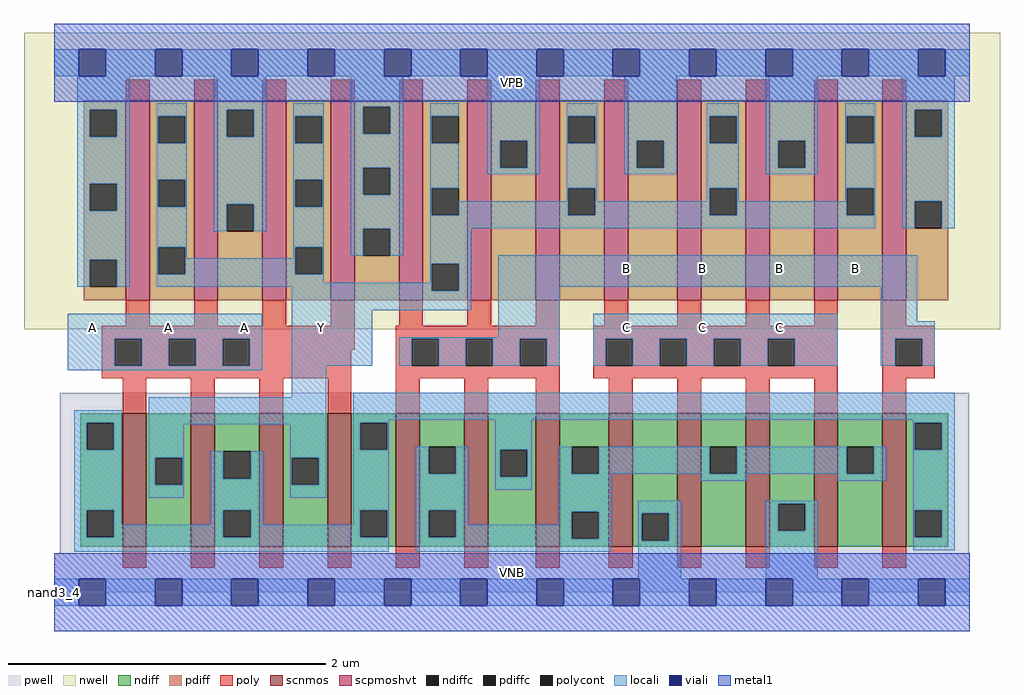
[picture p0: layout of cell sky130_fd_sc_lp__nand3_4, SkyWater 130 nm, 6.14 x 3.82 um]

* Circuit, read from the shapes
.subckt sky130_fd_sc_lp__nand3_4 A B C VGND VNB VPB VPWR Y
XM1 Y A n1 VNB sky130_fd_pr__nfet_01v8 w=0.84 l=0.15 m=4
XM2 n2 B n1 VNB sky130_fd_pr__nfet_01v8 w=0.84 l=0.15 m=4
XM3 VGND C n2 VNB sky130_fd_pr__nfet_01v8 w=0.84 l=0.15 m=4
XM4 Y A VPWR VPB sky130_fd_pr__pfet_01v8_hvt w=1.26 l=0.15 m=4
XM5 Y B VPWR VPB sky130_fd_pr__pfet_01v8_hvt w=1.26 l=0.15 m=4
XM6 VPWR C Y VPB sky130_fd_pr__pfet_01v8_hvt w=1.26 l=0.15 m=4
.ends

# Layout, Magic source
magic
tech sky130A
magscale 1 2
<< nwell >>
rect -38 331 1190 704
<< pwell >>
rect 7 49 1151 251
rect 0 0 1152 49
<< scnmos >>
rect 86 57 116 225
rect 172 57 202 225
rect 258 57 288 225
rect 344 57 374 225
rect 430 57 460 225
rect 516 57 546 225
rect 606 57 636 225
rect 698 57 728 225
rect 784 57 814 225
rect 870 57 900 225
rect 956 57 986 225
rect 1042 57 1072 225
<< scpmoshvt >>
rect 90 367 120 619
rect 176 367 206 619
rect 262 367 292 619
rect 348 367 378 619
rect 434 367 464 619
rect 520 367 550 619
rect 606 367 636 619
rect 692 367 722 619
rect 784 367 814 619
rect 870 367 900 619
rect 956 367 986 619
rect 1042 367 1072 619
<< ndiff >>
rect 33 213 86 225
rect 33 179 41 213
rect 75 179 86 213
rect 33 103 86 179
rect 33 69 41 103
rect 75 69 86 103
rect 33 57 86 69
rect 116 169 172 225
rect 116 135 127 169
rect 161 135 172 169
rect 116 57 172 135
rect 202 177 258 225
rect 202 143 213 177
rect 247 143 258 177
rect 202 103 258 143
rect 202 69 213 103
rect 247 69 258 103
rect 202 57 258 69
rect 288 169 344 225
rect 288 135 299 169
rect 333 135 344 169
rect 288 57 344 135
rect 374 213 430 225
rect 374 179 385 213
rect 419 179 430 213
rect 374 103 430 179
rect 374 69 385 103
rect 419 69 430 103
rect 374 57 430 69
rect 460 183 516 225
rect 460 149 471 183
rect 505 149 516 183
rect 460 103 516 149
rect 460 69 471 103
rect 505 69 516 103
rect 460 57 516 69
rect 546 179 606 225
rect 546 145 561 179
rect 595 145 606 179
rect 546 57 606 145
rect 636 183 698 225
rect 636 149 651 183
rect 685 149 698 183
rect 636 101 698 149
rect 636 67 651 101
rect 685 67 698 101
rect 636 57 698 67
rect 728 99 784 225
rect 728 65 739 99
rect 773 65 784 99
rect 728 57 784 65
rect 814 183 870 225
rect 814 149 825 183
rect 859 149 870 183
rect 814 57 870 149
rect 900 111 956 225
rect 900 77 911 111
rect 945 77 956 111
rect 900 57 956 77
rect 986 183 1042 225
rect 986 149 997 183
rect 1031 149 1042 183
rect 986 57 1042 149
rect 1072 213 1125 225
rect 1072 179 1083 213
rect 1117 179 1125 213
rect 1072 103 1125 179
rect 1072 69 1083 103
rect 1117 69 1125 103
rect 1072 57 1125 69
<< pdiff >>
rect 37 607 90 619
rect 37 573 45 607
rect 79 573 90 607
rect 37 514 90 573
rect 37 480 45 514
rect 79 480 90 514
rect 37 418 90 480
rect 37 384 45 418
rect 79 384 90 418
rect 37 367 90 384
rect 120 599 176 619
rect 120 565 131 599
rect 165 565 176 599
rect 120 519 176 565
rect 120 485 131 519
rect 165 485 176 519
rect 120 434 176 485
rect 120 400 131 434
rect 165 400 176 434
rect 120 367 176 400
rect 206 607 262 619
rect 206 573 217 607
rect 251 573 262 607
rect 206 488 262 573
rect 206 454 217 488
rect 251 454 262 488
rect 206 367 262 454
rect 292 599 348 619
rect 292 565 303 599
rect 337 565 348 599
rect 292 519 348 565
rect 292 485 303 519
rect 337 485 348 519
rect 292 434 348 485
rect 292 400 303 434
rect 337 400 348 434
rect 292 367 348 400
rect 378 611 434 619
rect 378 577 389 611
rect 423 577 434 611
rect 378 534 434 577
rect 378 500 389 534
rect 423 500 434 534
rect 378 457 434 500
rect 378 423 389 457
rect 423 423 434 457
rect 378 367 434 423
rect 464 599 520 619
rect 464 565 475 599
rect 509 565 520 599
rect 464 508 520 565
rect 464 474 475 508
rect 509 474 520 508
rect 464 413 520 474
rect 464 379 475 413
rect 509 379 520 413
rect 464 367 520 379
rect 550 568 606 619
rect 550 534 561 568
rect 595 534 606 568
rect 550 367 606 534
rect 636 599 692 619
rect 636 565 647 599
rect 681 565 692 599
rect 636 508 692 565
rect 636 474 647 508
rect 681 474 692 508
rect 636 367 692 474
rect 722 568 784 619
rect 722 534 733 568
rect 767 534 784 568
rect 722 367 784 534
rect 814 599 870 619
rect 814 565 825 599
rect 859 565 870 599
rect 814 508 870 565
rect 814 474 825 508
rect 859 474 870 508
rect 814 367 870 474
rect 900 568 956 619
rect 900 534 911 568
rect 945 534 956 568
rect 900 367 956 534
rect 986 599 1042 619
rect 986 565 997 599
rect 1031 565 1042 599
rect 986 508 1042 565
rect 986 474 997 508
rect 1031 474 1042 508
rect 986 367 1042 474
rect 1072 607 1125 619
rect 1072 573 1083 607
rect 1117 573 1125 607
rect 1072 492 1125 573
rect 1072 458 1083 492
rect 1117 458 1125 492
rect 1072 367 1125 458
<< ndiffc >>
rect 41 179 75 213
rect 41 69 75 103
rect 127 135 161 169
rect 213 143 247 177
rect 213 69 247 103
rect 299 135 333 169
rect 385 179 419 213
rect 385 69 419 103
rect 471 149 505 183
rect 471 69 505 103
rect 561 145 595 179
rect 651 149 685 183
rect 651 67 685 101
rect 739 65 773 99
rect 825 149 859 183
rect 911 77 945 111
rect 997 149 1031 183
rect 1083 179 1117 213
rect 1083 69 1117 103
<< pdiffc >>
rect 45 573 79 607
rect 45 480 79 514
rect 45 384 79 418
rect 131 565 165 599
rect 131 485 165 519
rect 131 400 165 434
rect 217 573 251 607
rect 217 454 251 488
rect 303 565 337 599
rect 303 485 337 519
rect 303 400 337 434
rect 389 577 423 611
rect 389 500 423 534
rect 389 423 423 457
rect 475 565 509 599
rect 475 474 509 508
rect 475 379 509 413
rect 561 534 595 568
rect 647 565 681 599
rect 647 474 681 508
rect 733 534 767 568
rect 825 565 859 599
rect 825 474 859 508
rect 911 534 945 568
rect 997 565 1031 599
rect 997 474 1031 508
rect 1083 573 1117 607
rect 1083 458 1117 492
<< poly >>
rect 90 619 120 645
rect 176 619 206 645
rect 262 619 292 645
rect 348 619 378 645
rect 434 619 464 645
rect 520 619 550 645
rect 606 619 636 645
rect 692 619 722 645
rect 784 619 814 645
rect 870 619 900 645
rect 956 619 986 645
rect 1042 619 1072 645
rect 90 335 120 367
rect 176 335 206 367
rect 262 335 292 367
rect 348 335 378 367
rect 434 335 464 367
rect 520 335 550 367
rect 606 335 636 367
rect 692 335 722 367
rect 784 335 814 367
rect 870 335 900 367
rect 956 335 986 367
rect 60 319 378 335
rect 60 285 76 319
rect 110 285 144 319
rect 178 285 212 319
rect 246 305 378 319
rect 430 319 636 335
rect 246 285 374 305
rect 60 269 374 285
rect 86 225 116 269
rect 172 225 202 269
rect 258 225 288 269
rect 344 225 374 269
rect 430 285 450 319
rect 484 285 518 319
rect 552 285 586 319
rect 620 285 636 319
rect 430 269 636 285
rect 678 319 986 335
rect 678 285 694 319
rect 728 285 762 319
rect 796 285 830 319
rect 864 285 898 319
rect 932 285 986 319
rect 678 269 986 285
rect 430 225 460 269
rect 516 225 546 269
rect 606 225 636 269
rect 698 225 728 269
rect 784 225 814 269
rect 870 225 900 269
rect 956 225 986 269
rect 1042 335 1072 367
rect 1042 319 1108 335
rect 1042 285 1058 319
rect 1092 285 1108 319
rect 1042 269 1108 285
rect 1042 225 1072 269
rect 86 31 116 57
rect 172 31 202 57
rect 258 31 288 57
rect 344 31 374 57
rect 430 31 460 57
rect 516 31 546 57
rect 606 31 636 57
rect 698 31 728 57
rect 784 31 814 57
rect 870 31 900 57
rect 956 31 986 57
rect 1042 31 1072 57
<< polycont >>
rect 76 285 110 319
rect 144 285 178 319
rect 212 285 246 319
rect 450 285 484 319
rect 518 285 552 319
rect 586 285 620 319
rect 694 285 728 319
rect 762 285 796 319
rect 830 285 864 319
rect 898 285 932 319
rect 1058 285 1092 319
<< locali >>
rect 0 649 31 683
rect 65 649 127 683
rect 161 649 223 683
rect 257 649 319 683
rect 353 649 415 683
rect 449 649 511 683
rect 545 649 607 683
rect 641 649 703 683
rect 737 649 799 683
rect 833 649 895 683
rect 929 649 991 683
rect 1025 649 1087 683
rect 1121 649 1152 683
rect 29 607 95 649
rect 29 573 45 607
rect 79 573 95 607
rect 29 514 95 573
rect 29 480 45 514
rect 79 480 95 514
rect 29 418 95 480
rect 29 384 45 418
rect 79 384 95 418
rect 129 599 167 615
rect 129 565 131 599
rect 165 565 167 599
rect 129 519 167 565
rect 129 485 131 519
rect 165 485 167 519
rect 129 434 167 485
rect 201 607 267 649
rect 201 573 217 607
rect 251 573 267 607
rect 201 488 267 573
rect 201 454 217 488
rect 251 454 267 488
rect 301 599 339 615
rect 301 565 303 599
rect 337 565 339 599
rect 301 519 339 565
rect 301 485 303 519
rect 337 485 339 519
rect 129 400 131 434
rect 165 420 167 434
rect 301 434 339 485
rect 301 420 303 434
rect 165 400 303 420
rect 337 400 339 434
rect 373 611 439 649
rect 373 577 389 611
rect 423 577 439 611
rect 373 534 439 577
rect 373 500 389 534
rect 423 500 439 534
rect 373 457 439 500
rect 373 423 389 457
rect 423 423 439 457
rect 473 599 509 615
rect 473 565 475 599
rect 473 508 509 565
rect 545 568 611 649
rect 545 534 561 568
rect 595 534 611 568
rect 545 526 611 534
rect 645 599 683 615
rect 645 565 647 599
rect 681 565 683 599
rect 473 474 475 508
rect 645 508 683 565
rect 717 568 783 649
rect 717 534 733 568
rect 767 534 783 568
rect 717 526 783 534
rect 821 599 861 615
rect 821 565 825 599
rect 859 565 861 599
rect 645 492 647 508
rect 509 474 647 492
rect 681 492 683 508
rect 821 508 861 565
rect 895 568 961 649
rect 895 534 911 568
rect 945 534 961 568
rect 895 526 961 534
rect 995 599 1033 615
rect 995 565 997 599
rect 1031 565 1033 599
rect 821 492 825 508
rect 681 474 825 492
rect 859 492 861 508
rect 995 508 1033 565
rect 995 492 997 508
rect 859 474 997 492
rect 1031 474 1033 508
rect 473 458 1033 474
rect 1067 607 1133 649
rect 1067 573 1083 607
rect 1117 573 1133 607
rect 1067 492 1133 573
rect 1067 458 1083 492
rect 1117 458 1133 492
rect 129 389 339 400
rect 473 413 525 458
rect 473 389 475 413
rect 129 384 475 389
rect 299 379 475 384
rect 509 379 525 413
rect 299 355 525 379
rect 559 384 1086 424
rect 17 319 262 350
rect 17 285 76 319
rect 110 285 144 319
rect 178 285 212 319
rect 246 285 262 319
rect 17 279 262 285
rect 299 285 400 355
rect 559 321 636 384
rect 434 319 636 321
rect 434 285 450 319
rect 484 285 518 319
rect 552 285 586 319
rect 620 285 636 319
rect 678 319 986 350
rect 678 285 694 319
rect 728 285 762 319
rect 796 285 830 319
rect 864 285 898 319
rect 932 285 986 319
rect 1040 341 1086 384
rect 1040 319 1108 341
rect 1040 285 1058 319
rect 1092 285 1108 319
rect 299 245 342 285
rect 25 213 85 229
rect 25 179 41 213
rect 75 179 85 213
rect 25 103 85 179
rect 119 211 342 245
rect 119 169 163 211
rect 119 135 127 169
rect 161 135 163 169
rect 119 119 163 135
rect 197 143 213 177
rect 247 143 263 177
rect 25 69 41 103
rect 75 85 85 103
rect 197 103 263 143
rect 297 169 342 211
rect 297 135 299 169
rect 333 135 342 169
rect 297 119 342 135
rect 376 217 1133 251
rect 376 213 421 217
rect 376 179 385 213
rect 419 179 421 213
rect 197 85 213 103
rect 75 69 213 85
rect 247 85 263 103
rect 376 103 421 179
rect 376 85 385 103
rect 247 69 385 85
rect 419 69 421 103
rect 25 51 421 69
rect 455 149 471 183
rect 505 149 521 183
rect 455 103 521 149
rect 555 179 601 217
rect 1081 213 1133 217
rect 555 145 561 179
rect 595 145 601 179
rect 555 129 601 145
rect 635 149 651 183
rect 685 149 825 183
rect 859 149 997 183
rect 1031 149 1047 183
rect 455 69 471 103
rect 505 85 521 103
rect 635 101 701 149
rect 813 140 871 149
rect 986 140 1047 149
rect 1081 179 1083 213
rect 1117 179 1133 213
rect 635 85 651 101
rect 505 69 651 85
rect 455 67 651 69
rect 685 67 701 101
rect 455 51 701 67
rect 735 99 789 115
rect 735 65 739 99
rect 773 65 789 99
rect 735 17 789 65
rect 895 111 961 115
rect 895 77 911 111
rect 945 77 961 111
rect 895 17 961 77
rect 1081 103 1133 179
rect 1081 69 1083 103
rect 1117 69 1133 103
rect 1081 53 1133 69
rect 0 -17 31 17
rect 65 -17 127 17
rect 161 -17 223 17
rect 257 -17 319 17
rect 353 -17 415 17
rect 449 -17 511 17
rect 545 -17 607 17
rect 641 -17 703 17
rect 737 -17 799 17
rect 833 -17 895 17
rect 929 -17 991 17
rect 1025 -17 1087 17
rect 1121 -17 1152 17
<< viali >>
rect 31 649 65 683
rect 127 649 161 683
rect 223 649 257 683
rect 319 649 353 683
rect 415 649 449 683
rect 511 649 545 683
rect 607 649 641 683
rect 703 649 737 683
rect 799 649 833 683
rect 895 649 929 683
rect 991 649 1025 683
rect 1087 649 1121 683
rect 31 -17 65 17
rect 127 -17 161 17
rect 223 -17 257 17
rect 319 -17 353 17
rect 415 -17 449 17
rect 511 -17 545 17
rect 607 -17 641 17
rect 703 -17 737 17
rect 799 -17 833 17
rect 895 -17 929 17
rect 991 -17 1025 17
rect 1087 -17 1121 17
<< metal1 >>
rect 0 683 1152 715
rect 0 649 31 683
rect 65 649 127 683
rect 161 649 223 683
rect 257 649 319 683
rect 353 649 415 683
rect 449 649 511 683
rect 545 649 607 683
rect 641 649 703 683
rect 737 649 799 683
rect 833 649 895 683
rect 929 649 991 683
rect 1025 649 1087 683
rect 1121 649 1152 683
rect 0 617 1152 649
rect 0 17 1152 49
rect 0 -17 31 17
rect 65 -17 127 17
rect 161 -17 223 17
rect 257 -17 319 17
rect 353 -17 415 17
rect 449 -17 511 17
rect 545 -17 607 17
rect 641 -17 703 17
rect 737 -17 799 17
rect 833 -17 895 17
rect 929 -17 991 17
rect 1025 -17 1087 17
rect 1121 -17 1152 17
rect 0 -49 1152 -17
<< labels >>
flabel pwell s 0 0 1152 49 0 FreeSans 200 0 0 0 VNB
port 5 nsew ground bidirectional
flabel nwell s 0 617 1152 666 0 FreeSans 200 0 0 0 VPB
port 6 nsew power bidirectional
rlabel comment s 0 0 0 0 4 nand3_4
flabel metal1 s 0 617 1152 666 0 FreeSans 340 0 0 0 VPWR
port 7 nsew power bidirectional
flabel metal1 s 0 0 1152 49 0 FreeSans 340 0 0 0 VGND
port 4 nsew ground bidirectional
flabel locali s 31 316 65 350 0 FreeSans 340 0 0 0 A
port 1 nsew signal input
flabel locali s 127 316 161 350 0 FreeSans 340 0 0 0 A
port 1 nsew signal input
flabel locali s 703 390 737 424 0 FreeSans 340 0 0 0 B
port 2 nsew signal input
flabel locali s 799 390 833 424 0 FreeSans 340 0 0 0 B
port 2 nsew signal input
flabel locali s 895 390 929 424 0 FreeSans 340 0 0 0 B
port 2 nsew signal input
flabel locali s 991 390 1025 424 0 FreeSans 340 0 0 0 B
port 2 nsew signal input
flabel locali s 703 316 737 350 0 FreeSans 340 0 0 0 C
port 3 nsew signal input
flabel locali s 799 316 833 350 0 FreeSans 340 0 0 0 C
port 3 nsew signal input
flabel locali s 895 316 929 350 0 FreeSans 340 0 0 0 C
port 3 nsew signal input
flabel locali s 319 316 353 350 0 FreeSans 340 0 0 0 Y
port 8 nsew signal output
flabel locali s 223 316 257 350 0 FreeSans 340 0 0 0 A
port 1 nsew signal input
<< properties >>
string LEFsite unit
string LEFclass CORE
string FIXED_BBOX 0 0 1152 666
string GDS_FILE $PDKPATH/libs.ref/sky130_fd_sc_lp/gds/sky130_fd_sc_lp.gds
string LEFsymmetry X Y R90
string GDS_END 411942
string GDS_START 401742
<< end >>
